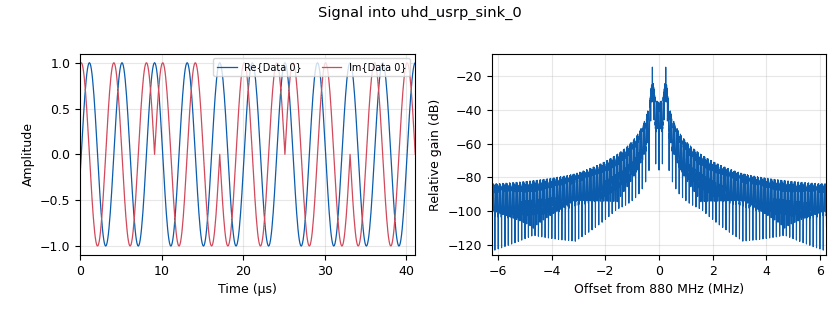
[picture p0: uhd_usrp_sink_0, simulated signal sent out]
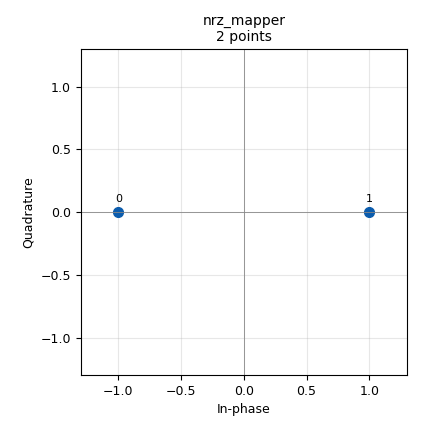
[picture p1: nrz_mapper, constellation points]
options:
  parameters:
    comment: 'FSK con ruido AWGN: envolvente compleja, PSD y frecuencia instantanea'
    description: 'FSK con AWGN: comparación de envolvente compleja, PSD y frecuencia instantánea'
    generate_options: qt_gui
    id: Modulacion_FSK_AWGN
    output_language: python
    title: Modulacion_FSK_AWGN
  states: {}

blocks:
- name: amp
  id: variable_qtgui_range
  parameters:
    label: GAIN
    start: '-10'
    step: '0.01'
    stop: '10'
    value: '0'
  states: {}
- name: fc
  id: variable
  parameters:
    value: 880e6
  states: {}
- name: fsk_deviation
  id: variable_qtgui_range
  parameters:
    label: Desviación FSK (Hz)
    start: '5000'
    step: '1000'
    stop: '100000'
    value: '20000'
  states: {}
- name: noise_voltage
  id: variable_qtgui_range
  parameters:
    label: Noise voltage
    start: '0.0'
    step: '0.01'
    stop: '1.0'
    value: '0.1'
  states: {}
- name: samp_rate
  id: variable
  parameters:
    value: 1e6
  states: {}
- name: samp_rate2
  id: variable
  parameters:
    value: 12.5e6
  states: {}
- name: samp_rate2_0
  id: variable
  parameters:
    value: 12.5e6
  states: {}
- name: sps
  id: variable
  parameters:
    value: '100'
  states: {}
- name: symbol_rate
  id: variable
  parameters:
    value: samp_rate/sps
  states: {}
- name: bit_source
  id: blocks_vector_source_x
  parameters:
    repeat: 'True'
    type: byte
    vector: '[0,1,0,0,1,1,0,1,1,1,0,0,1,0,1,0]'
  states: {}
- name: blocks_char_to_float_0
  id: blocks_char_to_float
  parameters:
    scale: '1'
  states: {state: disabled}
- name: blocks_char_to_float_0_0
  id: blocks_char_to_float
  parameters:
    scale: '1'
  states: {state: disabled}
- name: blocks_delay_0
  id: blocks_delay
  parameters:
    delay: '200'
    type: float
  states: {state: disabled}
- name: blocks_keep_one_in_n_0
  id: blocks_keep_one_in_n
  parameters:
    n: '100'
    type: float
  states: {state: disabled}
- name: channel_awgn
  id: channels_channel_model
  parameters:
    block_tags: 'True'
    epsilon: '1.0'
    freq_offset: '0.0'
    noise_voltage: noise_voltage
    seed: '0'
    taps: 1.0 + 0.0j
  states: {state: disabled}
- name: digital_binary_slicer_fb_0
  id: digital_binary_slicer_fb
  parameters: {}
  states: {state: disabled}
- name: freq_inst_compare
  id: qtgui_time_sink_x
  parameters:
    grid: 'True'
    label1: Tx ideal
    label2: Rx + AWGN
    name: '"Frecuencia instantánea: ideal vs AWGN"'
    nconnections: '2'
    size: '4096'
    srate: samp_rate
    type: float
    ymax: '2'
    ymin: '-2'
  states: {state: disabled}
- name: fsk_demod_rx
  id: analog_quadrature_demod_cf
  parameters:
    gain: samp_rate/(2*math.pi*fsk_deviation)
  states: {state: disabled}
- name: fsk_demod_tx
  id: analog_quadrature_demod_cf
  parameters:
    gain: samp_rate/(2*math.pi*fsk_deviation)
  states: {state: disabled}
- name: fsk_modulator
  id: analog_frequency_modulator_fc
  parameters:
    sensitivity: 2*math.pi*fsk_deviation/samp_rate
  states: {}
- name: import_0
  id: import
  parameters:
    imports: import math
  states: {}
- name: low_pass_filter_0
  id: low_pass_filter
  parameters:
    cutoff_freq: '10000'
    gain: '1'
    interp: '1'
    samp_rate: samp_rate
    type: interp_fir_filter_ccf
    width: '5000'
    win: window.WIN_HAMMING
  states: {state: disabled}
- name: nrz_mapper
  id: digital_chunks_to_symbols_xx
  parameters:
    dimension: '1'
    in_type: byte
    out_type: float
    symbol_table: '[-1.0, 1.0]'
  states: {}
- name: qtgui_const_sink_x_0
  id: qtgui_const_sink_x
  parameters:
    size: '1024'
    type: complex
  states: {state: disabled}
- name: rx_time
  id: qtgui_time_sink_x
  parameters:
    grid: 'True'
    label1: Tx ideal
    label2: Rx + AWGN
    label3: ''
    label4: ''
    name: '"Envolvente compleja FSK: ideal vs AWGN"'
    nconnections: '2'
    size: '4096'
    srate: samp_rate
    type: complex
    ymax: '2'
    ymin: '-2'
  states: {state: disabled}
- name: rx_time_0
  id: qtgui_time_sink_x
  parameters:
    grid: 'True'
    label1: Tx ideal
    name: '"simbolos recuperados"'
    size: '4096'
    srate: samp_rate/100
    type: float
    ymax: '2'
    ymin: '-2'
  states: {state: disabled}
- name: rx_time_0_0
  id: qtgui_time_sink_x
  parameters:
    grid: 'True'
    label1: Bits Recuperados (Rx)
    label2: Bits Transmitidos (Tx)
    marker1: '4'
    name: '"Bits recuperados"'
    nconnections: '2'
    size: '100'
    srate: samp_rate/100
    style1: '4'
    type: float
    ymax: '1.2'
    ymin: '-0.2'
  states: {state: disabled}
- name: spectrum_compare
  id: qtgui_freq_sink_x
  parameters:
    bw: samp_rate
    fc: '0'
    fftsize: '2048'
    grid: 'True'
    label1: Tx ideal
    label2: Rx + AWGN
    name: '"PSD FSK: ideal vs AWGN"'
    nconnections: '2'
    type: complex
  states: {state: disabled}
- name: symbol_repeat
  id: blocks_repeat
  parameters:
    interp: sps
    type: float
  states: {}
- name: throttle
  id: blocks_throttle2
  parameters:
    samples_per_second: samp_rate
    type: complex
  states: {state: disabled}
- name: uhd_usrp_sink_0
  id: uhd_usrp_sink
  parameters:
    ant0: '"TX/RX"'
    bw0: 500e3
    center_freq0: fc
    gain0: amp
    samp_rate: samp_rate2
    sync: gps_time
    type: fc32
  states: {}

connections:
- [bit_source, '0', blocks_char_to_float_0_0, '0']
- [bit_source, '0', nrz_mapper, '0']
- [blocks_char_to_float_0, '0', rx_time_0_0, '0']
- [blocks_char_to_float_0_0, '0', rx_time_0_0, '1']
- [blocks_delay_0, '0', blocks_keep_one_in_n_0, '0']
- [blocks_keep_one_in_n_0, '0', digital_binary_slicer_fb_0, '0']
- [blocks_keep_one_in_n_0, '0', rx_time_0, '0']
- [channel_awgn, '0', fsk_demod_rx, '0']
- [channel_awgn, '0', qtgui_const_sink_x_0, '0']
- [channel_awgn, '0', rx_time, '1']
- [channel_awgn, '0', spectrum_compare, '1']
- [digital_binary_slicer_fb_0, '0', blocks_char_to_float_0, '0']
- [fsk_demod_rx, '0', freq_inst_compare, '1']
- [fsk_demod_rx, '0', low_pass_filter_0, '0']
- [fsk_demod_tx, '0', freq_inst_compare, '0']
- [fsk_modulator, '0', throttle, '0']
- [fsk_modulator, '0', uhd_usrp_sink_0, '0']
- [low_pass_filter_0, '0', blocks_delay_0, '0']
- [nrz_mapper, '0', symbol_repeat, '0']
- [symbol_repeat, '0', fsk_modulator, '0']
- [throttle, '0', channel_awgn, '0']
- [throttle, '0', fsk_demod_tx, '0']
- [throttle, '0', rx_time, '0']
- [throttle, '0', spectrum_compare, '0']

metadata:
  file_format: 1
  grc_version: 3.10.12.0
